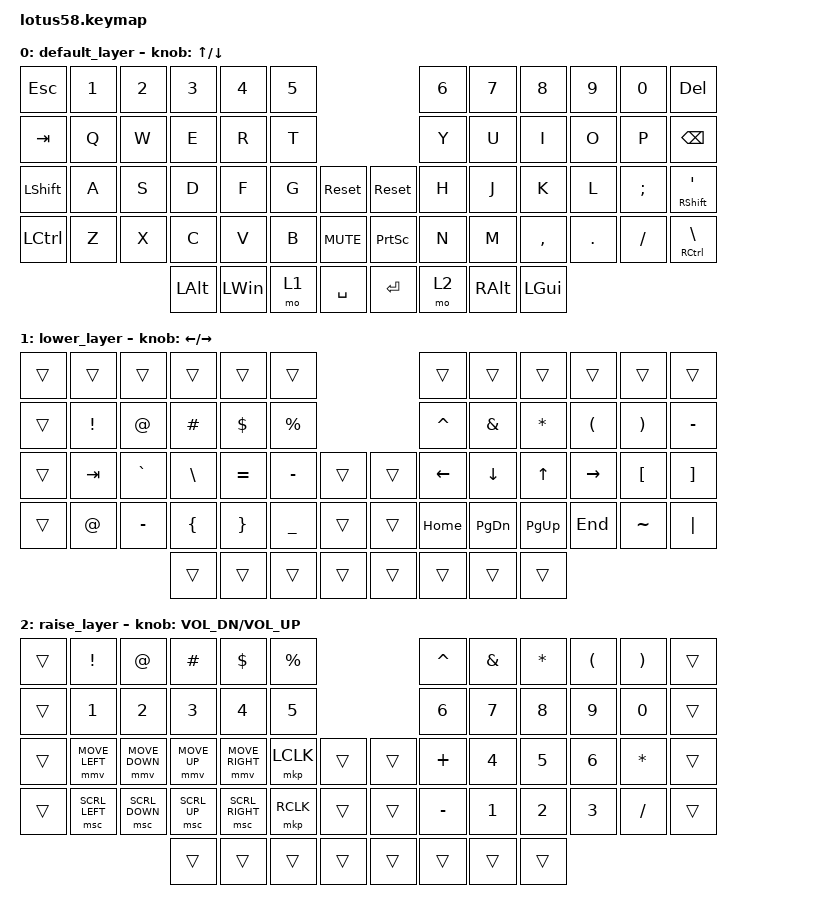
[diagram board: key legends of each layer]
/*
 * Copyright (c) 2022 The ZMK Contributors
 *
 * SPDX-License-Identifier: MIT
 */

#include <behaviors.dtsi>
#include <dt-bindings/zmk/keys.h>
#include <dt-bindings/zmk/pointing.h>

/ {
    combos {
        compatible = "zmk,combos";

        combo_dsklg {
            timeout-ms = <100>;
            key-positions = <24 52>;
            layers = <0>;
            bindings = <&kp LGUI>;
        };
    };

    behaviors {
        fofunc: four_ffour {
            compatible = "zmk,behavior-mod-morph";
            #binding-cells = <0>;
            bindings = <&kp N4>, <&kp F4>;

            mods = <(MOD_LALT|MOD_RALT)>;
        };

        sleft: s_left {
            compatible = "zmk,behavior-mod-morph";
            #binding-cells = <0>;
            bindings = <&kp S>, <&kp LEFT>;

            mods = <(MOD_LGUI|MOD_RGUI)>;
        };

        fright: f_right {
            compatible = "zmk,behavior-mod-morph";
            #binding-cells = <0>;
            bindings = <&kp F>, <&kp RIGHT>;

            mods = <(MOD_LGUI|MOD_RGUI)>;
        };
    };

    keymap {
        compatible = "zmk,keymap";

        default_layer {
            //   ------------------------------------------------------------------------------------------------------------
            //  0|  ESC  |  1  |  2  |  3   |  4   |  5   |                     |  6   |  7    |  8    |  9   |   0   |   =   | 11
            // 12|  TAB  |  Q  |  W  |  E   |  R   |  T   |                     |  Y   |  U    |  I    |  O   |   P   |   [   | 23
            // 24|  SFT  |  A  |  S  |  D   |  F   |  G   |  RESET  |  | RESET  |  H   |  J    |  K    |  L   |   ;   | ' SFT | 37
            // 38|  CTRL |  Z  |  X  |  C   |  V   |  B   |  MUTE   |  | PLAY   |  N   |  M    |  ,    |  .   |   /   | \ CTRL| 51
            // 52                    |ENT RS|  ALT | SPACE|DELETE LW|  |ENTER RS| BSPC |  ] LW | RGUI  |                        59

            bindings = <
&kp ESC    &kp N1  &kp N2  &kp N3          &kp NUMBER_4  &kp N5                               &kp N6  &kp N7         &kp N8     &kp N9   &kp N0    &kp DEL
&kp TAB    &kp Q   &kp W   &kp E           &kp R         &kp T                                &kp Y   &kp U          &kp I      &kp O    &kp P     &kp BACKSPACE
&kp LSHFT  &kp A   &kp S   &kp D           &kp F         &kp G   &sys_reset  &sys_reset       &kp H   &kp J          &kp K      &kp L    &kp SEMI  &mt RSHFT SQT
&kp LCTRL  &kp Z   &kp X   &kp C           &kp V         &kp B   &kp C_MUTE  &kp PRINTSCREEN  &kp N   &kp M          &kp COMMA  &kp DOT  &kp FSLH  &mt RCTRL BSLH
                           &kp LEFT_ALT    &kp LEFT_WIN  &mo 1   &kp SPACE   &kp ENTER        &mo 2   &kp RIGHT_ALT  &kp LGUI
            >;

            sensor-bindings = <&inc_dec_kp UP_ARROW DOWN>;
        };

        lower_layer {
            // ------------------------------------------------------------------------------------------------------------
            // | `     |  F1 |  F2 |  F3  |  F4  |  F5  |                   |  F6  |  F7   |  F8   |  F9  |  F10  |  F11  |
            // |       |  !  | HOME|   ^  |  END |  %   |                   | VOL^ |  PGUP |  INS  |  ^   |  PSCR |   -   |
            // |       |  #  |  <- |   v  | ->   |  $   |        |  |       | VOLv |    <- |   ^   |  ->  |   ~   |   _   |
            // |       |  @  |  -  |  (   |  )   |  &   |        |  |       | MUTE |  PGDN |   v   |  :   |   *   |   |   |
            //                     |  F11 |      |      |        |  |       |      |       |  F12  |

            bindings = <
&trans  &trans    &trans       &trans         &trans      &trans                     &trans          &trans         &trans        &trans                &trans                 &trans
&trans  &kp EXCL  &kp AT_SIGN  &kp HASH       &kp DOLLAR  &kp PRCNT                  &kp CARET       &kp AMPERSAND  &kp ASTERISK  &kp LEFT_PARENTHESIS  &kp RIGHT_PARENTHESIS  &kp MINUS
&trans  &kp TAB   &kp GRAVE    &kp BACKSLASH  &kp EQUAL   &kp MINUS  &trans  &trans  &kp LEFT_ARROW  &kp DOWN       &kp UP        &kp RIGHT             &kp LEFT_BRACKET       &kp RIGHT_BRACKET
&trans  &kp AT    &kp MINUS    &kp LBRC       &kp RBRC    &kp UNDER  &trans  &trans  &kp HOME        &kp PG_DN      &kp PAGE_UP   &kp END               &kp TILDE              &kp PIPE
                               &trans         &trans      &trans     &trans  &trans  &trans          &trans         &trans
            >;

            sensor-bindings = <&inc_dec_kp LEFT_ARROW RIGHT_ARROW>;
        };

        raise_layer {
            // ------------------------------------------------------------------------------------------------------------
            // |BTCLR| BT1  | BT2  |  BT3  |  BT4  |  BT5 |                |OUTTOG|OUTUSB| OUTBT |      | RESET | FLASH |
            // |     | INS  | PSCR | GUI   | RESET |      |                | PGUP |      |   ^   |      |       |       |
            // |     | ALT  | CTRL | SHIFT | FLASH | CAPS |      |  |      | PGDN |   <- |   v   |  ->  |  DEL  | BSPC  |
            // |     | UNDO | CUT  | COPY  | PASTE |      |      |  |      |      |  |>  |  <|<| | |>|> |       |       |
            //                     |       |       |      |      |  |      |      |      |       |

            bindings = <
&trans  &kp EXCLAMATION  &kp AT_SIGN     &kp HASH      &kp DOLLAR       &kp PERCENT                  &kp CARET  &kp AMPERSAND  &kp ASTERISK  &kp LEFT_PARENTHESIS  &kp RIGHT_PARENTHESIS  &trans
&trans  &kp N1           &kp N2          &kp N3        &kp N4           &kp N5                       &kp N6     &kp N7         &kp N8        &kp N9                &kp N0                 &trans
&trans  &mmv MOVE_LEFT   &mmv MOVE_DOWN  &mmv MOVE_UP  &mmv MOVE_RIGHT  &mkp LCLK    &trans  &trans  &kp PLUS   &kp N4         &kp N5        &kp NUMBER_6          &kp ASTERISK           &trans
&trans  &msc SCRL_LEFT   &msc SCRL_DOWN  &msc SCRL_UP  &msc SCRL_RIGHT  &mkp RCLK    &trans  &trans  &kp MINUS  &kp N1         &kp N2        &kp N3                &kp SLASH              &trans
                                         &trans        &trans           &trans       &trans  &trans  &trans     &trans         &trans
            >;

            sensor-bindings = <&inc_dec_kp C_VOL_DN C_VOL_UP>;
        };
    };
};
